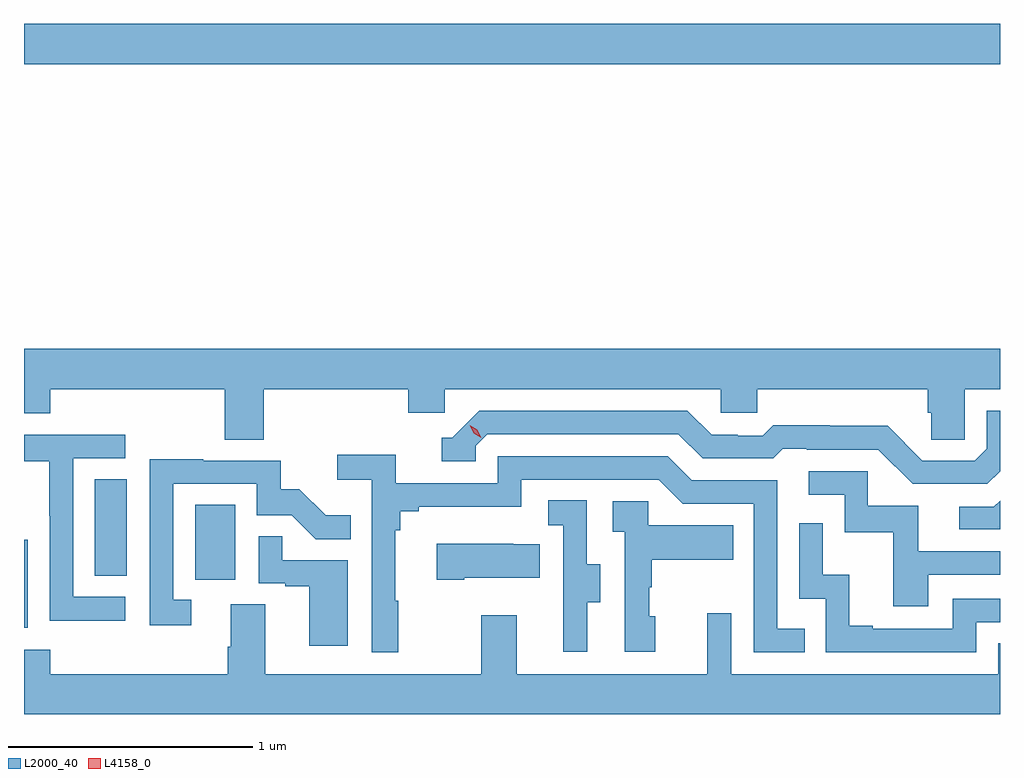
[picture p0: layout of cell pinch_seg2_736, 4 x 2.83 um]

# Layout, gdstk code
import gdstk
lib = gdstk.Library(unit=1e-6, precision=1e-09)
def R(c, l, rs):  # rectangles x0, y0, x1, y1
    for r in rs: c.add(gdstk.rectangle(r[:2], r[2:], *l))
def P(c, l, *ps):  # polygons
    for p in ps: c.add(gdstk.Polygon(p, *l))
L2000_40 = (2000, 40)
L4158_0 = (4158, 0)

pinch_seg2_736 = lib.new_cell('pinch_seg2_736')
R(pinch_seg2_736, L2000_40, [(884.565,657.314,884.581,657.675), (885.266,657.51,885.43,657.817), (884.855,657.526,884.986,657.923), (884.565,659.624,888.565,659.788)])
P(pinch_seg2_736, L2000_40, [(885.548,658.292),(886.139,658.292),(886.139,658.194),(886.29,658.194),(886.29,658.292),(887.421,658.292),(887.421,658.194),(887.571,658.194),(887.571,658.292),(888.269,658.292),(888.269,658.194),(888.283,658.194),(888.283,658.084),(888.42,658.084),(888.42,658.292),(888.565,658.292),(888.565,658.456),(884.565,658.456),(884.565,658.193),(884.672,658.193),(884.672,658.292),(885.388,658.292),(885.388,658.084),(885.548,658.084)],
  [(888.565,657.955),(888.565,658.203),(888.51,658.203),(888.51,658.047),(888.462,657.999),(888.246,657.999),(888.104,658.141),(887.868,658.141),(887.868,658.144),(887.635,658.144),(887.593,658.101),(887.49,658.101),(887.49,658.104),(887.383,658.104),(887.284,658.203),(886.431,658.203),(886.32,658.092),(886.277,658.092),(886.277,657.996),(886.416,657.996),(886.416,658.059),(886.464,658.107),(887.247,658.107),(887.346,658.008),(887.635,658.008),(887.674,658.047),(887.773,658.047),(887.773,658.044),(888.066,658.044),(888.207,657.903),(888.513,657.903)],
  [(884.98,657.441),(884.766,657.441),(884.766,658.008),(884.98,658.008),(884.98,658.104),(884.565,658.104),(884.565,657.996),(884.668,657.996),(884.668,657.772),(884.67,657.772),(884.67,657.343),(884.98,657.343)],
  [(886.099,657.425),(886.087,657.425),(886.087,657.713),(886.106,657.713),(886.106,657.79),(886.183,657.79),(886.183,657.809),(886.602,657.809),(886.602,657.921),(887.166,657.921),(887.265,657.822),(887.556,657.822),(887.556,657.213),(887.765,657.213),(887.765,657.309),(887.652,657.309),(887.652,657.918),(887.302,657.918),(887.203,658.017),(886.506,658.017),(886.506,657.906),(886.088,657.906),(886.088,658.022),(885.849,658.022),(885.849,657.92),(885.99,657.92),(885.99,657.213),(886.099,657.213)],
  [(885.25,657.429),(885.177,657.429),(885.177,657.903),(885.519,657.903),(885.519,657.774),(885.663,657.774),(885.761,657.676),(885.905,657.676),(885.905,657.775),(885.801,657.775),(885.694,657.882),(885.618,657.882),(885.618,657.999),(885.299,657.999),(885.299,658.004),(885.081,658.004),(885.081,657.324),(885.25,657.324)],
  [(888.271,657.531),(888.565,657.531),(888.565,657.627),(888.229,657.627),(888.229,657.813),(888.024,657.813),(888.024,657.954),(887.781,657.954),(887.781,657.858),(887.928,657.858),(887.928,657.705),(888.127,657.705),(888.127,657.402),(888.271,657.402)],
  [(886.873,657.418),(886.927,657.418),(886.927,657.573),(886.872,657.573),(886.872,657.836),(886.713,657.836),(886.713,657.733),(886.776,657.733),(886.776,657.429),(886.775,657.429),(886.775,657.216),(886.873,657.216)],
  [(888.565,657.835),(888.54,657.81),(888.399,657.81),(888.399,657.717),(888.565,657.717)],
  [(887.152,657.36),(887.127,657.36),(887.127,657.479),(887.137,657.479),(887.137,657.593),(887.471,657.593),(887.471,657.733),(887.124,657.733),(887.124,657.831),(886.977,657.831),(886.977,657.707),(887.028,657.707),(887.028,657.216),(887.152,657.216)],
  [(888.468,657.336),(888.565,657.336),(888.565,657.432),(888.372,657.432),(888.372,657.309),(888.043,657.309),(888.043,657.322),(887.948,657.322),(887.948,657.53),(887.838,657.53),(887.838,657.742),(887.742,657.742),(887.742,657.432),(887.85,657.432),(887.85,657.213),(888.468,657.213)],
  [(885.892,657.591),(885.623,657.591),(885.623,657.689),(885.528,657.689),(885.528,657.495),(885.635,657.495),(885.635,657.483),(885.734,657.483),(885.734,657.24),(885.892,657.24)],
  [(886.369,657.518),(886.679,657.518),(886.679,657.655),(886.571,657.655),(886.571,657.658),(886.257,657.658),(886.257,657.511),(886.369,657.511)],
  [(888.565,657.251),(888.558,657.251),(888.558,657.124),(887.463,657.124),(887.463,657.373),(887.366,657.373),(887.366,657.124),(886.585,657.124),(886.585,657.364),(886.438,657.364),(886.438,657.124),(885.553,657.124),(885.553,657.41),(885.413,657.41),(885.413,657.236),(885.401,657.236),(885.401,657.124),(884.672,657.124),(884.672,657.223),(884.565,657.223),(884.565,656.96),(888.565,656.96)])
P(pinch_seg2_736, L4158_0, [(886.438,658.092),(886.408,658.111),(886.391,658.143),(886.391,658.144),(886.392,658.144),(886.422,658.125),(886.439,658.092),(886.439,658.092)])

lib.write_gds('pinch_seg2_736.gds')
